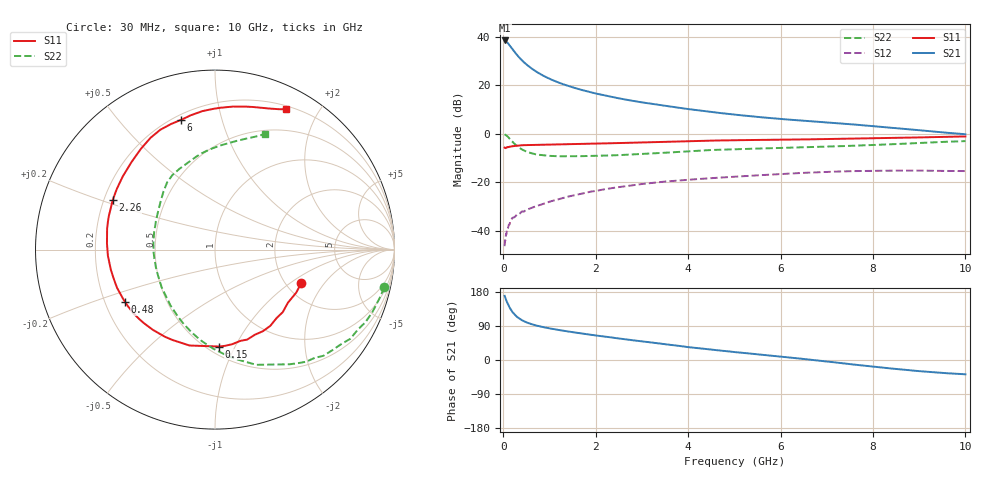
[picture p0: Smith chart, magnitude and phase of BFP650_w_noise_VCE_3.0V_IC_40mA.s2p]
! Infineon Technologies  Discrete & RF Semiconductors
! BFP650
! VCE =  3.0 V,  IC =  40 mA
! Common Emitter S-Parameters:  Jan 2016
# GHz  S  MA  R  50
!  f  S11  S21  S12  S22
! GHz  MAG  ANG  MAG  ANG  MAG  ANG  MAG  ANG
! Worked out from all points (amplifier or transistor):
!   229 points, 30 MHz to 10 GHz, reference 50 ohm
!   highest |S21| = 38.4 dB at 30 MHz (marker M1)
!   |S21| within 3 dB of that: start of sweep to 176.9 MHz
!   unconditionally stable (mu >= 1): 1.958 GHz to end of sweep
!   at 280 MHz: K = 0.40, MSG = 33.3 dB, |S12| = -33.7 dB
!   at 1.78 GHz: K = 0.99, MSG = 21.0 dB, |S12| = -24.4 dB
!   at 10 GHz: K = 1.03, MAG = 6.5 dB, |S12| = -15.4 dB
!   lowest NFmin = 0.87 dB at 450 MHz
!   S11 on the Smith chart (normalised r, x): 30 MHz: 2.41, -1.22; 150 MHz: 0.57, -0.87; 480 MHz: 0.28, -0.25; 2.26 GHz: 0.24, +0.22; 6 GHz: 0.23, +0.75; 10 GHz: 0.24, +1.60
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0.03  0.5154 -21.2  83.21 169.2  0.0048 65.0  0.9665 -12.6
0.05  0.5026 -36.0  81.04 162.1  0.0067 48.9  0.9431 -21.8
0.06  0.5137 -42.7  80.47 159.3  0.0086 56.2  0.9309 -25.7
0.08  0.5249 -54.1  77.13 153.1  0.0108 75.7  0.9028 -33.4
0.11  0.5324 -70.3  71.63 144.9  0.0121 69.1  0.8456 -44.4
0.15  0.5406 -87.5  63.78 135.8  0.0156 60.5  0.764 -56.7
0.2  0.5529 -104.9  55.07 126.4  0.0184 54.6  0.6819 -70.3
0.24  0.5566 -115.3  49.1 120.7  0.0189 50.4  0.6223 -78.9
0.3  0.5654 -127.7  41.63 113.6  0.0216 49.5  0.5528 -90.9
0.4  0.5765 -141.9  32.7 105.3  0.0248 47.5  0.4761 -106.4
0.48  0.5796 -149.8  27.79 100.5  0.026 49.5  0.436 -116.3
0.7  0.5875 -164.5  19.28 91.4  0.0317 51.0  0.376 -137.2
0.9  0.5935 -173.2  15.02 85.9  0.0366 51.1  0.3537 -150.9
1.22  0.6029 176.7  11.09 78.8  0.0451 50.9  0.3424 -166.7
1.7  0.6167 165.3  7.943 70.0  0.058 49.0  0.3438 176.7
2.26  0.6329 154.2  5.939 60.8  0.0733 45.1  0.3544 162.2
3.4  0.6692 135.2  3.864 43.2  0.1006 34.4  0.3988 140.2
5.1  0.7351 113.4  2.415 19.9  0.1312 18.5  0.4809 118.5
6  0.7467 104.7  2.006 8.9  0.147 10.3  0.5074 107.4
6.8  0.7681 97.3  1.763 -1.1  0.1602 2.1  0.5344 99.7
8.4  0.8155 77.6  1.323 -22.5  0.1726 -15.2  0.6045 81.4
10  0.8761 63.2  0.972 -37.7  0.1693 -27.7  0.7015 66.7
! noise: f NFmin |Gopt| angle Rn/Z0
0.45  0.87  0.11  163  1.38
0.9  0.89  0.36  -170  0.07
1.9  1.03  0.4  -155  0.06
2.4  1.11  0.4  -145  0.07
3.5  1.31  0.43  -122  0.13
